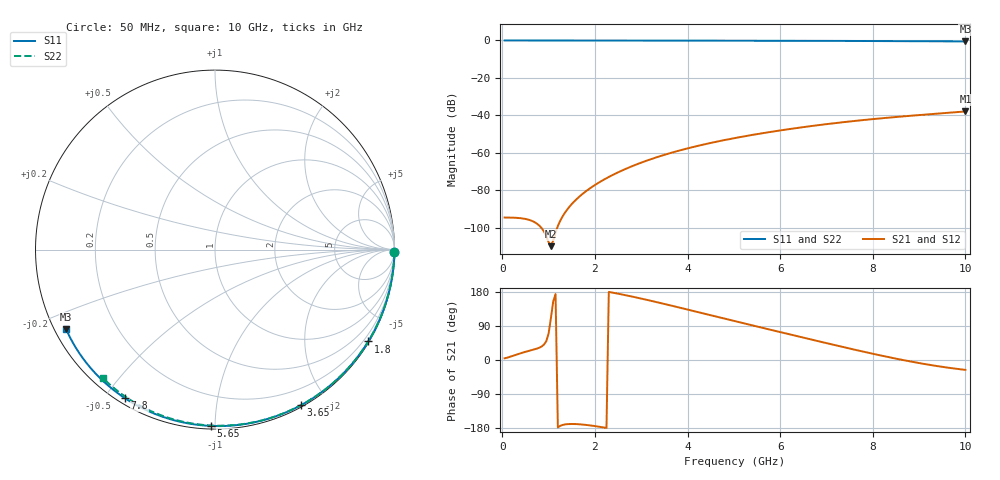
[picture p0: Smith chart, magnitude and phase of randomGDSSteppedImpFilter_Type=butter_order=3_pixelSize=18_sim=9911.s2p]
! freq	dB(S11)	phase(S11)	dB(S12)	phase(S12)
!  dB(S21)	phase(S21)	dB(S22)	phase(S22)
!S-par simulation data
#  GHz  S  DB  R 50
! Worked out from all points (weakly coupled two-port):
!   200 points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, 50 MHz to 10 GHz, reference 50 ohm
!   highest |S21| = -37.89 dB at 10 GHz (marker M1); lowest = -109.8 dB at 1.05 GHz (marker M2)
!   lowest |S11| = -0.5 dB at 10 GHz (marker M3), VSWR 32.46, Z = 1.64 - j12.5 ohm
!   |S11| at or under -10 dB: nowhere
!   |S22| runs from -0.4 to 0.0 dB; largest |S21 - S12| = 0
!   S11 on the Smith chart (normalised r, x): 50 MHz: open; 1.8 GHz: 0.03, -3.61; 3.65 GHz: 0.02, -1.69; 5.65 GHz: 0.02, -0.98; 7.8 GHz: 0.02, -0.56; 10 GHz: 0.03, -0.25
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0.05  -0.00 -0.9  -94.52 4.5  -94.52 4.5  -0.00 -0.8
0.55  -0.01 -9.6  -95.56 23.2  -95.56 23.2  -0.01 -8.3
1.05  -0.02 -18.2  -109.80 110.5  -109.80 110.5  -0.02 -15.8
1.75  -0.04 -30.1  -81.56 -170.5  -81.56 -170.5  -0.03 -26.1
1.8  -0.04 -30.9  -80.59 -171.2  -80.59 -171.2  -0.03 -26.9
1.85  -0.04 -31.8  -79.68 -171.9  -79.68 -171.9  -0.04 -27.6
2.05  -0.04 -35.1  -76.37 -175.3  -76.37 -175.3  -0.04 -30.5
2.25  -0.05 -38.4  -73.52 -179.3  -73.52 -179.3  -0.04 -33.4
2.55  -0.06 -43.4  -69.82 173.8  -69.82 173.8  -0.05 -37.7
2.95  -0.06 -49.9  -65.68 163.4  -65.68 163.4  -0.06 -43.4
3.4  -0.08 -57.1  -61.81 150.8  -61.81 150.8  -0.07 -49.7
3.65  -0.08 -61.1  -59.95 143.5  -59.95 143.5  -0.07 -53.2
4.3  -0.10 -71.2  -55.81 124.2  -55.81 124.2  -0.09 -62.1
5.05  -0.13 -82.4  -51.96 101.7  -51.96 101.7  -0.11 -72.0
5.65  -0.15 -91.2  -49.38 84.0  -49.38 84.0  -0.13 -79.7
6.15  -0.18 -98.4  -47.48 69.3  -47.48 69.3  -0.15 -86.0
6.7  -0.21 -106.1  -45.60 53.2  -45.60 53.2  -0.18 -92.8
7.25  -0.24 -113.7  -43.93 37.3  -43.93 37.3  -0.21 -99.4
7.8  -0.28 -121.2  -42.46 21.9  -42.46 21.9  -0.25 -106.0
8.35  -0.33 -128.7  -41.17 7.3  -41.17 7.3  -0.29 -112.4
9.2  -0.42 -140.4  -39.43 -12.3  -39.43 -12.3  -0.36 -122.1
10  -0.54 -152.0  -37.89 -26.0  -37.89 -26.0  -0.45 -131.1
